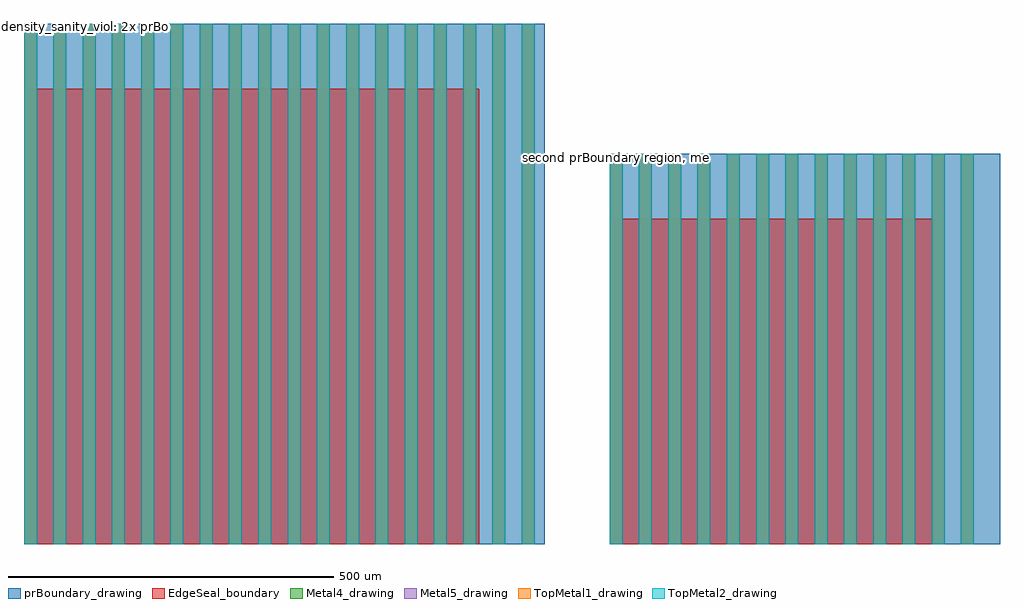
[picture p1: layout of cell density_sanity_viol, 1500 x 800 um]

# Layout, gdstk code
import gdstk
lib = gdstk.Library(unit=1e-6, precision=1e-09)
def R(c, l, rs):  # rectangles x0, y0, x1, y1
    for r in rs: c.add(gdstk.rectangle(r[:2], r[2:], *l))
def A(c, l, x, y, w, h, nx, ny, dx, dy):  # array of equal rectangles
    R(c, l, [(x+i*dx, y+j*dy, x+i*dx+w, y+j*dy+h) for i in range(nx) for j in range(ny)])
EdgeSeal_boundary = (39, 4)
Metal4_drawing = (50, 0)
Metal5_drawing = (67, 0)
TopMetal1_drawing = (126, 0)
TopMetal2_drawing = (134, 0)
prBoundary_drawing = (235, 0)

density_sanity_viol = lib.new_cell('density_sanity_viol')
R(density_sanity_viol, EdgeSeal_boundary, [(0,0,700,700), (900,0,1400,500)])
A(density_sanity_viol, Metal4_drawing, 0, 0, 20, 800, 18, 1, 45, 0)
A(density_sanity_viol, Metal4_drawing, 900, 0, 20, 600, 13, 1, 45, 0)
A(density_sanity_viol, Metal5_drawing, 0, 0, 20, 800, 18, 1, 45, 0)
A(density_sanity_viol, Metal5_drawing, 900, 0, 20, 600, 13, 1, 45, 0)
A(density_sanity_viol, TopMetal1_drawing, 0, 0, 20, 800, 18, 1, 45, 0)
A(density_sanity_viol, TopMetal1_drawing, 900, 0, 20, 600, 13, 1, 45, 0)
A(density_sanity_viol, TopMetal2_drawing, 0, 0, 20, 800, 18, 1, 45, 0)
A(density_sanity_viol, TopMetal2_drawing, 900, 0, 20, 600, 13, 1, 45, 0)
R(density_sanity_viol, prBoundary_drawing, [(0,0,800,800), (900,0,1500,600)])
density_sanity_viol.add(gdstk.Label('density_sanity_viol: 2x prBoundary + 2x EdgeSeal boundary -> DEN.BND.1/2/3', (10,795), layer=63, texttype=0))
density_sanity_viol.add(gdstk.Label('second prBoundary region, metals ~43%', (910,595), layer=63, texttype=0))

lib.write_gds('density_sanity_viol.gds')
